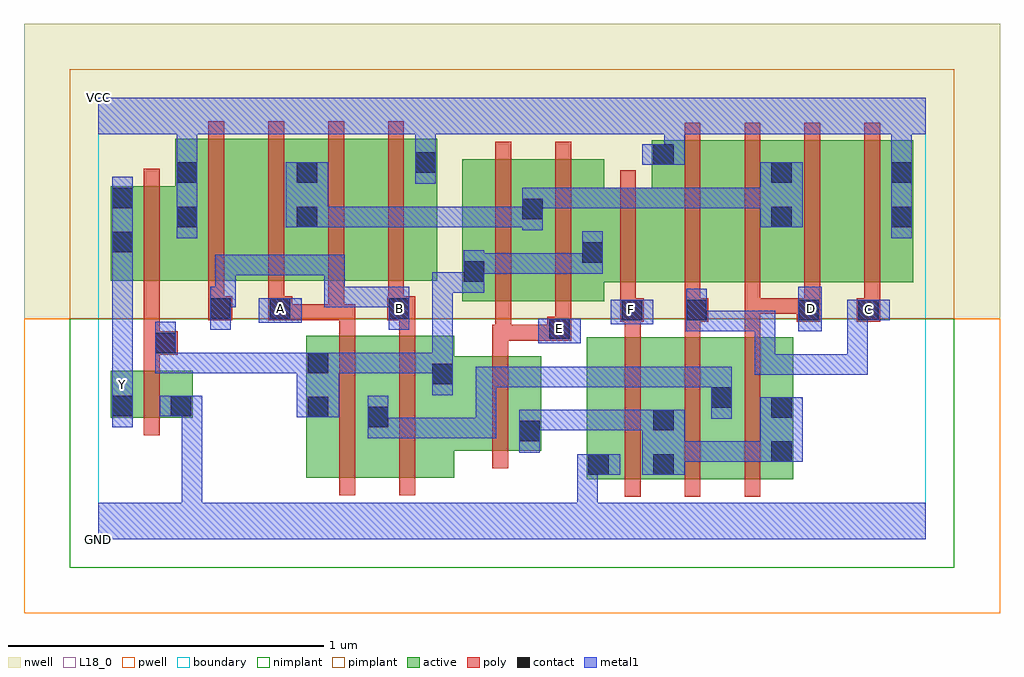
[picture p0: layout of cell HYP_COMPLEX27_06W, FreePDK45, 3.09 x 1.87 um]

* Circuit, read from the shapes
.subckt HYP_COMPLEX27_06W A B C D E F GND VCC Y
M1 GND n1 Y VSUBS nfet w=0.15u l=0.05u
M2 n2 A n1 VSUBS nfet w=0.45u l=0.05u
M3 n1 B n2 VSUBS nfet w=0.45u l=0.05u
M4 n3 E n1 VSUBS nfet w=0.3u l=0.05u
M5 n3 F GND VSUBS nfet w=0.45u l=0.05u
M6 n2 C n3 VSUBS nfet w=0.45u l=0.05u
M7 n3 D n2 VSUBS nfet w=0.45u l=0.05u
M8 VCC n1 Y n4 pfet w=0.3u l=0.05u
M9 n5 B VCC n4 pfet w=0.45u l=0.05u
M10 n6 A n5 n4 pfet w=0.45u l=0.05u
M11 n7 A n6 n4 pfet w=0.45u l=0.05u
M12 VCC B n7 n4 pfet w=0.45u l=0.05u
M13 n6 E n1 n4 pfet w=0.45u l=0.05u m=2
M14 VCC F n1 n4 pfet w=0.3u l=0.05u
M15 n8 C VCC n4 pfet w=0.45u l=0.05u
M16 n6 D n8 n4 pfet w=0.45u l=0.05u
M17 n9 D n6 n4 pfet w=0.45u l=0.05u
M18 VCC C n9 n4 pfet w=0.45u l=0.05u
.ends

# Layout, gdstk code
import gdstk
lib = gdstk.Library(unit=1e-6, precision=1e-09)
def R(c, l, rs):  # rectangles x0, y0, x1, y1
    for r in rs: c.add(gdstk.rectangle(r[:2], r[2:], *l))
def A(c, l, x, y, w, h, nx, ny, dx, dy):  # array of equal rectangles
    R(c, l, [(x+i*dx, y+j*dy, x+i*dx+w, y+j*dy+h) for i in range(nx) for j in range(ny)])
active = (1, 0)
pwell = (2, 0)
nwell = (3, 0)
nimplant = (4, 0)
pimplant = (5, 0)
poly = (9, 0)
contact = (10, 0)
metal1 = (11, 0)
L18_0 = (18, 0)
boundary = (235, 0)

hyp_complex27_06w = lib.new_cell('HYP_COMPLEX27_06W')
R(hyp_complex27_06w, active, [(1.55,0.19,1.83,0.64), (1.755,0.19,2.015,0.64), (1.94,0.19,2.205,0.64), (0.66,0.195,0.925,0.645), (0.66,0.195,0.735,0.645), (0.85,0.195,0.925,0.542), (0.85,0.195,1.13,0.645), (1.55,0.195,1.625,0.542), (1.755,0.195,1.83,0.542), (1.94,0.195,2.015,0.542), (2.13,0.195,2.205,0.64), (1.055,0.28,1.405,0.58), (1.33,0.28,1.405,0.58), (1.055,0.33,1.13,0.562), (0.04,0.385,0.115,0.535), (0.04,0.385,0.3,0.535), (0.225,0.385,0.3,0.535), (1.155,0.755,1.415,1.205), (1.155,0.755,1.23,1.047), (1.34,0.755,1.415,1.2), (1.34,0.755,1.605,1.205), (1.53,0.815,1.83,1.115), (1.755,0.815,1.98,1.265), (1.98,0.815,2.205,1.265), (2.13,0.815,2.36,1.265), (2.13,0.815,2.205,1.2), (2.36,0.815,2.585,1.265), (2.51,0.815,2.585,1.265), (0.04,0.82,0.115,1.12), (0.04,0.82,0.32,1.12), (0.245,0.82,0.47,1.27), (0.245,0.82,0.32,1.2), (0.47,0.82,0.7,1.27), (0.625,0.82,0.85,1.27), (0.625,0.82,0.7,1.2), (0.85,0.82,1.075,1.27), (1,0.857,1.075,1.27), (1.53,0.872,1.605,1.07), (1.755,0.887,1.83,1.257)])
R(hyp_complex27_06w, pwell, [(-0.235,-0.235,2.86,0.7)])
R(hyp_complex27_06w, nwell, [(-0.235,0.7,2.86,1.635)])
R(hyp_complex27_06w, nimplant, [(-0.09,-0.09,2.715,0.7)])
R(hyp_complex27_06w, pimplant, [(-0.09,0.7,2.715,1.49)])
A(hyp_complex27_06w, poly, 1.67, 0.135, 0.05, 0.56, 3, 1, 0.19, 0)
A(hyp_complex27_06w, poly, 1.86, 0.715, 0.05, 0.095, 4, 1, 0.19, 0)
A(hyp_complex27_06w, poly, 1.86, 0.76, 0.05, 0.56, 4, 1, 0.19, 0)
A(hyp_complex27_06w, poly, 0.35, 0.765, 0.05, 0.56, 4, 1, 0.19, 0)
R(hyp_complex27_06w, poly, [(0.765,0.14,0.815,0.7), (0.955,0.14,1.005,0.7), (1.25,0.225,1.3,0.635), (0.145,0.33,0.195,0.59), (0.145,0.54,0.195,0.635), (0.145,0.585,0.252,0.66), (1.25,0.585,1.3,0.68), (0.145,0.61,0.195,0.815), (1.25,0.63,1.31,0.68), (1.26,0.63,1.475,0.68), (1.26,0.63,1.31,0.75), (1.425,0.63,1.5,0.705), (1.425,0.63,1.475,0.68), (1.425,0.63,1.475,0.68), (1.67,0.645,1.72,0.74), (1.86,0.645,1.91,0.74), (2.05,0.645,2.1,0.765), (0.765,0.65,0.815,0.745), (0.955,0.65,1.005,0.745), (1.45,0.655,1.5,0.75), (1.655,0.69,1.73,0.765), (1.86,0.69,1.935,0.765), (2.215,0.69,2.29,0.765), (2.405,0.69,2.48,0.765), (0.35,0.695,0.425,0.77), (0.54,0.695,0.615,0.77), (0.565,0.695,0.615,0.745), (0.565,0.695,0.615,0.745), (0.565,0.695,0.78,0.745), (0.73,0.695,0.78,0.815), (0.73,0.695,0.815,0.745), (0.917,0.695,1.005,0.77), (1.26,0.7,1.31,1.26), (1.45,0.7,1.5,1.26), (1.655,0.715,1.705,0.81), (2.05,0.715,2.1,0.765), (2.05,0.715,2.265,0.765), (2.215,0.715,2.265,0.765), (2.215,0.715,2.265,0.765), (0.35,0.72,0.4,0.815), (0.54,0.72,0.59,0.815), (0.92,0.72,0.97,0.815), (1.655,0.76,1.705,1.17), (0.145,0.765,0.195,1.175)])
R(hyp_complex27_06w, contact, [(1.555,0.205,1.62,0.27), (1.76,0.205,1.825,0.27), (2.135,0.245,2.2,0.31), (1.335,0.31,1.4,0.375), (1.76,0.345,1.825,0.41), (0.855,0.355,0.92,0.42), (2.135,0.385,2.2,0.45), (0.665,0.387,0.73,0.452), (0.045,0.39,0.11,0.455), (0.23,0.39,0.295,0.455), (1.945,0.417,2.01,0.482), (1.06,0.492,1.125,0.557), (0.665,0.527,0.73,0.592), (0.182,0.59,0.247,0.655), (1.43,0.635,1.495,0.7), (1.66,0.695,1.725,0.76), (1.865,0.695,1.93,0.76), (2.22,0.695,2.285,0.76), (2.41,0.695,2.475,0.76), (0.355,0.7,0.42,0.765), (0.545,0.7,0.61,0.765), (0.922,0.7,0.987,0.765), (1.16,0.817,1.225,0.882), (1.535,0.877,1.6,0.942), (0.045,0.91,0.11,0.975), (0.25,0.99,0.315,1.055), (0.63,0.99,0.695,1.055), (2.135,0.99,2.2,1.055), (2.515,0.99,2.58,1.055), (1.345,1.015,1.41,1.08), (0.045,1.05,0.11,1.115), (0.25,1.13,0.315,1.195), (0.63,1.13,0.695,1.195), (2.135,1.13,2.2,1.195), (2.515,1.13,2.58,1.195), (1.005,1.162,1.07,1.227), (1.76,1.187,1.825,1.252)])
R(hyp_complex27_06w, metal1, [(0,0,2.625,0.115), (0.265,0.05,0.33,0.115), (0.265,0.05,0.33,0.115), (0.265,0.05,0.33,0.455), (1.52,0.05,1.585,0.115), (1.52,0.05,1.585,0.115), (1.52,0.05,1.585,0.27), (1.52,0.205,1.655,0.27), (1.725,0.205,1.86,0.41), (1.795,0.245,2.01,0.31), (1.945,0.245,2.01,0.31), (1.945,0.245,2.01,0.31), (1.945,0.245,2.01,0.31), (1.945,0.245,2.147,0.31), (2.082,0.245,2.147,0.31), (2.082,0.245,2.165,0.31), (2.1,0.245,2.235,0.45), (1.335,0.275,1.4,0.41), (0.855,0.32,0.92,0.455), (0.855,0.32,0.987,0.385), (0.922,0.32,0.987,0.385), (0.922,0.32,1.125,0.385), (1.06,0.32,1.125,0.385), (1.06,0.32,1.262,0.385), (1.197,0.32,1.262,0.385), (1.197,0.32,1.262,0.547), (1.335,0.345,1.547,0.41), (1.482,0.345,1.547,0.41), (1.482,0.345,1.547,0.41), (1.482,0.345,1.547,0.41), (1.482,0.345,1.79,0.41), (1.725,0.345,1.79,0.41), (1.725,0.345,1.79,0.41), (0.045,0.355,0.11,0.49), (1.945,0.382,2.01,0.517), (0.63,0.387,0.765,0.592), (0.195,0.39,0.33,0.455), (0.265,0.39,0.33,0.455), (0.265,0.39,0.33,0.455), (0.265,0.39,0.33,0.455), (0.265,0.39,0.33,0.455), (0.045,0.425,0.11,0.49), (0.045,0.425,0.11,0.56), (1.945,0.452,2.01,0.517), (1.945,0.452,2.01,0.547), (1.06,0.457,1.125,0.592), (1.197,0.482,1.262,0.547), (1.197,0.482,1.262,0.547), (1.197,0.482,1.262,0.547), (1.197,0.482,1.41,0.547), (1.345,0.482,1.41,0.547), (1.345,0.482,1.41,0.547), (1.345,0.482,1.41,0.547), (1.345,0.482,1.652,0.547), (1.587,0.482,1.652,0.547), (1.587,0.482,1.792,0.547), (1.727,0.482,1.792,0.547), (1.727,0.482,1.792,0.547), (1.727,0.482,1.792,0.547), (1.727,0.482,2.01,0.547), (0.045,0.495,0.11,0.94), (2.082,0.522,2.147,0.587), (2.082,0.522,2.302,0.587), (2.082,0.522,2.147,0.725), (2.237,0.522,2.302,0.587), (2.237,0.522,2.44,0.587), (2.375,0.522,2.44,0.587), (2.375,0.522,2.44,0.76), (0.182,0.527,0.247,0.592), (0.182,0.527,0.385,0.592), (0.182,0.527,0.247,0.62), (0.32,0.527,0.385,0.592), (0.32,0.527,0.385,0.592), (0.32,0.527,0.385,0.592), (0.32,0.527,0.645,0.592), (0.58,0.527,0.645,0.592), (0.58,0.527,0.695,0.592), (0.7,0.527,0.782,0.592), (0.717,0.527,0.782,0.592), (0.717,0.527,0.92,0.592), (0.855,0.527,0.92,0.592), (0.855,0.527,0.987,0.592), (0.922,0.527,0.987,0.592), (0.922,0.527,1.125,0.592), (1.06,0.527,1.125,0.847), (0.182,0.555,0.247,0.62), (0.182,0.555,0.247,0.62), (0.182,0.555,0.247,0.69), (1.395,0.622,1.53,0.7), (1.865,0.66,2.01,0.725), (1.865,0.66,1.93,0.795), (1.945,0.66,2.01,0.725), (1.945,0.66,2.147,0.725), (2.082,0.66,2.147,0.725), (2.082,0.66,2.147,0.725), (2.082,0.66,2.147,0.725), (2.22,0.66,2.295,0.8), (0.355,0.665,0.42,0.8), (0.922,0.665,0.987,0.8), (1.625,0.682,1.76,0.76), (0.51,0.687,0.645,0.765), (2.375,0.695,2.44,0.76), (2.375,0.695,2.44,0.76), (2.375,0.695,2.51,0.76), (0.355,0.735,0.437,0.8), (0.372,0.735,0.437,0.8), (0.372,0.735,0.437,0.902), (0.717,0.735,0.782,0.8), (0.717,0.735,0.85,0.8), (0.717,0.735,0.782,0.902), (0.785,0.735,0.85,0.8), (0.785,0.735,0.92,0.8), (0.855,0.735,0.92,0.8), (0.855,0.735,0.987,0.8), (1.06,0.782,1.125,0.847), (1.06,0.782,1.225,0.847), (1.16,0.782,1.225,0.847), (1.16,0.782,1.225,0.847), (1.16,0.782,1.225,0.917), (0.372,0.837,0.437,0.902), (0.372,0.837,0.557,0.902), (0.492,0.837,0.557,0.902), (0.492,0.837,0.782,0.902), (0.717,0.837,0.782,0.902), (1.16,0.842,1.272,0.907), (1.207,0.842,1.272,0.907), (1.207,0.842,1.41,0.907), (1.345,0.842,1.41,0.907), (1.345,0.842,1.41,0.907), (1.345,0.842,1.41,0.907), (1.345,0.842,1.6,0.907), (1.535,0.842,1.6,0.977), (0.045,0.875,0.11,1.15), (0.25,0.955,0.315,1.23), (2.515,0.955,2.58,1.23), (1.345,0.98,1.41,1.115), (0.595,0.99,0.73,1.195), (0.665,0.99,0.85,1.055), (0.785,0.99,0.85,1.055), (0.785,0.99,0.92,1.055), (0.855,0.99,0.92,1.055), (0.855,0.99,0.987,1.055), (0.922,0.99,0.987,1.055), (0.922,0.99,1.125,1.055), (1.06,0.99,1.125,1.055), (1.06,0.99,1.125,1.055), (1.06,0.99,1.125,1.055), (1.06,0.99,1.272,1.055), (1.207,0.99,1.272,1.055), (1.207,0.99,1.41,1.055), (2.1,0.99,2.235,1.195), (1.345,1.05,1.547,1.115), (1.482,1.05,1.547,1.115), (1.482,1.05,1.547,1.115), (1.482,1.05,1.547,1.115), (1.482,1.05,1.79,1.115), (1.725,1.05,1.79,1.115), (1.725,1.05,1.79,1.115), (1.725,1.05,1.79,1.115), (1.725,1.05,1.79,1.115), (1.725,1.05,1.79,1.115), (1.725,1.05,2.01,1.115), (1.945,1.05,2.01,1.115), (1.945,1.05,2.01,1.115), (1.945,1.05,2.01,1.115), (1.945,1.05,2.147,1.115), (2.082,1.05,2.147,1.115), (2.082,1.05,2.165,1.115), (1.005,1.127,1.07,1.262), (0.25,1.165,0.315,1.35), (2.515,1.165,2.58,1.35), (1.725,1.187,1.86,1.252), (1.795,1.187,1.86,1.35), (1.005,1.197,1.07,1.35), (0,1.285,2.625,1.4)])
R(hyp_complex27_06w, L18_0, [(0,0,2.625,0.115), (0.265,0.05,0.33,0.115), (0.265,0.05,0.33,0.115), (0.265,0.05,0.33,0.455), (1.52,0.05,1.585,0.115), (1.52,0.05,1.585,0.115), (1.52,0.05,1.585,0.27), (1.52,0.205,1.655,0.27), (0.045,0.355,0.11,0.49), (0.195,0.39,0.33,0.455), (0.265,0.39,0.33,0.455), (0.265,0.39,0.33,0.455), (0.265,0.39,0.33,0.455), (0.265,0.39,0.33,0.455), (0.045,0.425,0.11,0.56), (0.045,0.425,0.11,0.49), (0.045,0.46,0.11,0.525), (0.045,0.495,0.11,0.94), (2.082,0.522,2.147,0.587), (2.082,0.522,2.147,0.725), (2.082,0.522,2.302,0.587), (2.237,0.522,2.302,0.587), (2.237,0.522,2.44,0.587), (2.375,0.522,2.44,0.587), (2.375,0.522,2.44,0.76), (1.395,0.622,1.53,0.7), (1.43,0.635,1.495,0.7), (1.865,0.66,1.93,0.795), (1.865,0.66,2.01,0.725), (1.945,0.66,2.01,0.725), (1.945,0.66,2.147,0.725), (2.082,0.66,2.147,0.725), (2.082,0.66,2.147,0.725), (2.082,0.66,2.147,0.725), (2.22,0.66,2.295,0.8), (0.355,0.665,0.42,0.8), (0.922,0.665,0.987,0.8), (1.625,0.682,1.76,0.76), (0.51,0.687,0.645,0.765), (1.66,0.695,1.725,0.76), (2.375,0.695,2.44,0.76), (2.375,0.695,2.44,0.76), (2.375,0.695,2.51,0.76), (2.41,0.695,2.475,0.76), (0.545,0.7,0.61,0.765), (0.922,0.7,0.987,0.765), (2.23,0.7,2.295,0.765), (0.355,0.735,0.437,0.8), (0.372,0.735,0.437,0.8), (0.372,0.735,0.437,0.902), (0.717,0.735,0.782,0.8), (0.717,0.735,0.782,0.902), (0.717,0.735,0.85,0.8), (0.785,0.735,0.85,0.8), (0.785,0.735,0.92,0.8), (0.855,0.735,0.92,0.8), (0.855,0.735,0.987,0.8), (0.372,0.837,0.437,0.902), (0.372,0.837,0.557,0.902), (0.492,0.837,0.557,0.902), (0.492,0.837,0.782,0.902), (0.717,0.837,0.782,0.902), (0.045,0.875,0.11,1.15), (0.25,0.955,0.315,1.23), (2.515,0.955,2.58,1.23), (1.005,1.127,1.07,1.262), (0.25,1.165,0.315,1.35), (2.515,1.165,2.58,1.35), (1.725,1.187,1.86,1.252), (1.795,1.187,1.86,1.35), (1.005,1.197,1.07,1.35), (0,1.285,2.625,1.4)])
R(hyp_complex27_06w, boundary, [(0,0,2.625,1.4)])
hyp_complex27_06w.add(gdstk.Label('A', (0.577,0.732), layer=11, texttype=0))
hyp_complex27_06w.add(gdstk.Label('B', (0.955,0.732), layer=11, texttype=0))
hyp_complex27_06w.add(gdstk.Label('C', (2.442,0.727), layer=11, texttype=0))
hyp_complex27_06w.add(gdstk.Label('D', (2.262,0.732), layer=11, texttype=0))
hyp_complex27_06w.add(gdstk.Label('E', (1.462,0.667), layer=11, texttype=0))
hyp_complex27_06w.add(gdstk.Label('F', (1.692,0.727), layer=11, texttype=0))
hyp_complex27_06w.add(gdstk.Label('Y', (0.077,0.492), layer=11, texttype=0))
hyp_complex27_06w.add(gdstk.Label('VCC', (0,1.4), layer=11, texttype=0))
hyp_complex27_06w.add(gdstk.Label('GND', (0,0), layer=11, texttype=0))

lib.write_gds('HYP_COMPLEX27_06W.gds')
